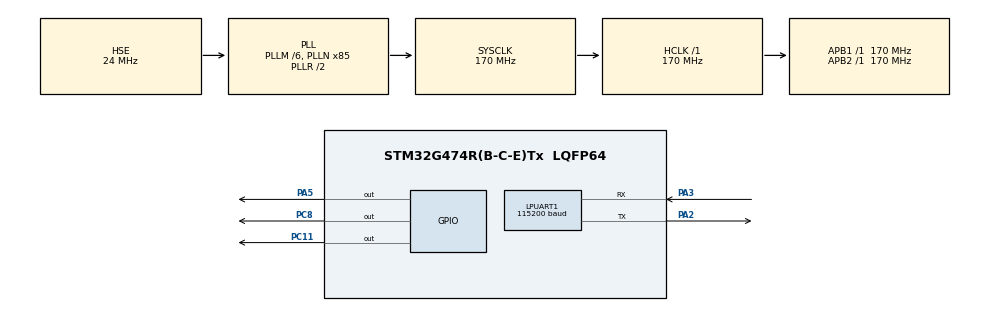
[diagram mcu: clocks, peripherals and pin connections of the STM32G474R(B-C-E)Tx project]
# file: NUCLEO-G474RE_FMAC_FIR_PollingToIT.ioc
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Mcu.Family=STM32G4
RCC.PLLSourceVirtual=RCC_PLLSOURCE_HSE
PC15-OSC32_OUT.Mode=LSE-External-Oscillator
RCC.CortexFreq_Value=170000000
VP_FMAC_VS_FMAC.Mode=FMAC_Activate
PC11.Signal=GPIO_Output
PC8.Signal=GPIO_Output
RCC.EXTERNAL_CLOCK_VALUE=12288000
PC14-OSC32_IN.Signal=RCC_OSC32_IN
RCC.SYSCLKSource=RCC_SYSCLKSOURCE_PLLCLK
ProjectManager.StackSize=0x400
PA3.Mode=Asynchronous
ProjectManager.TargetToolchain=STM32CubeIDE
RCC.HCLKFreq_Value=170000000
RCC.APB2TimFreq_Value=170000000
RCC.USBFreq_Value=170000000
PC15-OSC32_OUT.Signal=RCC_OSC32_OUT
RCC.AHBFreq_Value=170000000
PF0-OSC_IN.Mode=HSE-External-Oscillator
PA5.Signal=GPIO_Output
RCC.HSE_VALUE=24000000
board=NUCLEO-G474RE
RCC.VCOOutputFreq_Value=340000000
RCC.ADC12Freq_Value=170000000
RCC.ADC345Freq_Value=170000000
RCC.APB2Freq_Value=170000000
PC14-OSC32_IN.Mode=LSE-External-Oscillator
NVIC.FMAC_IRQn=true\:0\:0\:false\:false\:true\:true\:true
PC11.GPIO_Speed=GPIO_SPEED_FREQ_HIGH
VP_SYS_VS_DBSignals.Mode=DisableDeadBatterySignals
Mcu.Name=STM32G474R(B-C-E)Tx
LPUART1.BaudRate=115200
PA2.Signal=LPUART1_TX
RCC.SYSCLKFreq_VALUE=170000000
Mcu.Package=LQFP64
ProjectManager.HeapSize=0x200
PC8.GPIO_Speed=GPIO_SPEED_FREQ_HIGH
RCC.HSI_VALUE=16000000
NVIC.PriorityGroup=NVIC_PRIORITYGROUP_4
RCC.PLLM=RCC_PLLM_DIV6
RCC.PLLN=85
RCC.APB1TimFreq_Value=170000000
PA2.Mode=Asynchronous
PF0-OSC_IN.Signal=RCC_OSC_IN
PF1-OSC_OUT.Mode=HSE-External-Oscillator
RCC.APB1Freq_Value=170000000
PF1-OSC_OUT.Signal=RCC_OSC_OUT
RCC.HSI48_VALUE=48000000
PA3.Signal=LPUART1_RX

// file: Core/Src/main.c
/* USER CODE BEGIN Header */
/**
  ******************************************************************************
  * @file    FMAC/FMAC_FIR_PollingToIT/Src/main.c
  * @author  MCD Application Team
  * @brief   This sample code shows how to use FMAC HAL API (FMAC instance)
  *          to perform a FIR filter from polling mode to IT mode.
  ******************************************************************************
  * @attention
  *
  * <h2><center>&copy; Copyright (c) 2019 STMicroelectronics.
  * All rights reserved.</center></h2>
  *
  * This software component is licensed by ST under BSD 3-Clause license,
  * the "License"; You may not use this file except in compliance with the
  * License. You may obtain a copy of the License at:
  *                        opensource.org/licenses/BSD-3-Clause
  *
  ******************************************************************************
  */
/* USER CODE END Header */
#include "main.h"

/* USER CODE BEGIN Includes */
#include <stdio.h>
//#include "stm32g4xx_nucleo.h"
/* USER CODE END Includes */

FMAC_HandleTypeDef hfmac;

UART_HandleTypeDef hlpuart1;

/* USER CODE BEGIN PV */
/* FMAC configuration structure */
FMAC_FilterConfigTypeDef sFmacConfig;

/* Array of filter coefficients B (feed-forward taps) in Q1.15 format */
// Low Pass Filter
static int16_t aFilterCoeffB[COEFF_VECTOR_B_SIZE] =
{
		2212,  8848, 13272,  8848,  2212
};

// High Pass filter
//static int16_t aFilterCoeffB[COEFF_VECTOR_B_SIZE] =
//{
//		4612, -12078, 16028, -12078, 4612
//};

/* Array of input values in Q1.15 format (in four parts in order to write new data during the calculation) */
static int16_t aInputValues1[INPUT_ARRAY_1_SIZE] =
{
       0,  5276, -1548, 13844,     7, 17551,  5802, 16142, 14198, 12009,
   21624,  8678, 24576,  8672, 21611, 11990, 14172, 16111,  5765, 17510,
     -37, 13797, -1598,  5225,   -51, -5327,  1498,-13892,   -52,-17592,
   -5838,-16174,-14223,-12029,-21637, -8685,-24576, -8665,-21597,-11970,
  -14146,-16080, -5729,-17469,    82,-13749,  1647, -5174,   103,  5378,
   -1449, 13939,    96, 17632,  5874, 16205, 14249, 12048, 21650,  8691,
   24575,  8658, 21583, 11950, 14120, 16048,  5692, 17428,  -127, 13701,
   -1697,  5122,  -154, -5429,  1399,-13987,  -141,-17673, -5910,-16236,
  -14274,-12068,-21663, -8698,-24575, -8651,-21570,-11930,-14094,-16016,
   -5655,-17387,   171,-13654,  1747, -5071,   206,  5480, -1349, 14034,
};
static int16_t aInputValues2[INPUT_ARRAY_2_SIZE] =
{
     185, 17713,  5946, 16267, 14299, 12087, 21676,  8704, 24574,  8643,
   21556, 11909, 14067, 15984,  5618, 17346,  -216, 13606, -1797,  5020,
    -257, -5530,  1300,-14081,  -229,-17754, -5982,-16297,-14324,-12106,
  -21688, -8710,-24574, -8636,-21542,-11889,-14041,-15952, -5581,-17304,
     261,-13558,  1847, -4969,   309,  5581, -1250, 14128,   273, 17794,
    6018, 16328, 14349, 12124, 21701,  8715, 24573,  8628, 21527, 11868,
   14014, 15920,  5544, 17263,  -306, 13510, -1897,  4918,  -360, -5632,
    1201,-14176,  -317,-17834, -6053,-16358,-14374,-12143,-21713, -8721,
  -24571, -8620,-21513,-11847,-13988,-15888, -5507,-17221,   352,-13462,
    1947, -4867,   412,  5683, -1152, 14223,   361, 17874,  6089, 16389,
   14399, 12162, 21725,  8726, 24570,  8612, 21498, 11826, 13961, 15856,
    5470, 17180,  -397, 13414, -1997,  4816,  -463, -5734,  1102,-14270,
};
static int16_t aInputValues3[INPUT_ARRAY_3_SIZE] =
{
    -405,-17914, -6124,-16419,-14423,-12180,-21737, -8732,-24569, -8604,
  -21484,-11805,-13934,-15823, -5432,-17138,   442,-13366,  2047, -4764,
     515,  5785, -1053, 14317,   449, 17954,  6160, 16449, 14447, 12198,
   21749,  8737, 24567,  8596, 21469, 11784, 13907, 15790,  5395, 17096,
    -488, 13318, -2097,  4713,  -566, -5836,  1004,-14363,  -493,-17994,
   -6195,-16479,-14472,-12216,-21760, -8742,-24565, -8587,-21454,-11763,
  -13879,-15758, -5357,-17054,   533,-13269,  2147, -4662,   618,  5886,
    -955, 14410,   536, 18033,  6230, 16509, 14496, 12234, 21772,  8747,
   24563,  8579, 21438, 11741, 13852, 15725,  5319, 17012,  -579, 13221,
   -2198,  4611,  -669, -5937,   905,-14457,  -580,-18073, -6265,-16538,
  -14520,-12252,-21783, -8751,-24561, -8570,-21423,-11720,-13824,-15692,
};
static int16_t aInputValues4[INPUT_ARRAY_4_SIZE] =
{
   -5282,-16970,   624,-13173,  2248, -4559,   720,  5988,  -856, 14504,
     623, 18112,  6299, 16568, 14543, 12270, 21794,  8756, 24559,  8561,
   21408, 11698, 13797, 15659,  5244, 16928,  -670, 13124, -2298,  4508,
    -772, -6038,   807,-14550,  -667,-18152, -6334,-16597,-14567,-12287,
  -21805, -8760,-24557, -8552,-21392,-11676,-13769,-15625, -5205,-16886,
     716,-13076,  2348, -4457,   823,  6089,  -758, 14597,   710, 18191,
    6369, 16626, 14590, 12304, 21816,  8764, 24554,  8542, 21376, 11654,
   13741, 15592,  5167, 16843,  -761, 13027, -2399,  4405,  -875, -6140,
     709,-14643,  -753,-18230, -6403,-16656,-14614,-12321,-21827, -8768,
  -24551, -8533,-21360,-11632,-13713,-15559, -5129,-16801,   807,-12979,
    2449, -4354,   926,  6190,  -660, 14690,   796, 18269,  6437, 16685,
   14637, 12338, 21837,  8772, 24548,  8523, 21344, 11609, 13684, 15525,
    5090, 16758,  -853, 12930, -2500,  4303,  -977, -6241,   612,-14736,
    -839,-18308, -6472,-16713,-14660,-12355,-21847, -8776,-24545, -8514,
  -21328,-11587,-13656,-15491, -5052,-16715,   899,-12882,  2550, -4251,
    1029,  6291,  -563, 14782,   882, 18347,  6506, 16742, 14683, 12372,
   21858,  8779, 24542,  8504, 21311, 11564, 13628, 15457,  5013, 16673,
    -946, 12833, -2600,  4200, -1080, -6342,   514,-14828,  -925,-18386,
   -6540,-16771
};

static int16_t Sine1k_15k[] =
{
1861, 2597, 1744, 2099, 3102, 2379, 2300, 3419,
2936, 2435, 3499, 3329, 2482, 3329, 3499, 2435,
2936, 3419, 2300, 2379, 3102, 2099, 1744, 2597,
1861, 1126, 1979, 1624,  620, 1343, 1423,  304,
787, 1288,  224,  394, 1241,  394,  224, 1288,
787,  304, 1423, 1343,  620, 1624, 1979, 1126,
1861, 2597, 1744, 2099, 3102, 2379, 2300, 3419,
2936, 2435, 3499, 3329, 2482, 3329, 3499, 2435,
2936, 3419, 2300, 2379, 3102, 2099, 1744, 2597,
1861, 1126, 1979, 1624,  620, 1343, 1423,  304,
787, 1288,  224,  394, 1241,  394,  224, 1288,
787,  304, 1423, 1343,  620, 1624, 1979, 1126
};

/* Array of calculated filtered data in Q1.15 format (two parts) */
static int16_t aCalculatedFilteredData1[OUTPUT_ARRAY_1_SIZE];
static int16_t aCalculatedFilteredData2[OUTPUT_ARRAY_2_SIZE];

/* Size of the currently handled input buffer aInputValuesX */
uint16_t CurrentInputArraySize;

/* Expected number of calculated samples for the used aCalculatedFilteredDataX */
uint16_t ExpectedCalculatedFilteredDataSize;

/* Status of the calculation */
__IO uint32_t OutputDataReadyCallbackCount = 0;
__IO uint32_t ErrorCount                   = 0;

/* Array of reference filtered data for FIR "5 feed-forward taps, gain = 1" in Q1.15 format */
static const int16_t aRefFilteredData[ARRAY_SIZE] =
{
#if defined(CLIP_ENABLED)
  0x2370, 0x3498, 0x447e, 0x539a, 0x60ed, 0x6cdb, 0x76c6, 0x7ea8, 0x7fff, 0x7fff,
  0x7fff, 0x7fff, 0x7fff, 0x7e7e, 0x768f, 0x6c98, 0x609e, 0x5343, 0x441f, 0x3432,
  0x2306, 0x1185, 0xff92, 0xeda0, 0xdc24, 0xcb01, 0xbb21, 0xac0d, 0x9ec4, 0x92e1,
  0x8902, 0x812d, 0x8000, 0x8000, 0x8000, 0x8000, 0x8000, 0x81ac, 0x89a7, 0x93aa,
  0x9fae, 0xad14, 0xbc40, 0xcc33, 0xdd63, 0xeee7, 0x00dc, 0x12cc, 0x2444, 0x3563,
  0x453c, 0x5448, 0x6188, 0x6d61, 0x7734, 0x7efb, 0x7fff, 0x7fff, 0x7fff, 0x7fff,
  0x7fff, 0x7e28, 0x7620, 0x6c11, 0x6002, 0x5293, 0x435f, 0x3366, 0x2230, 0x10aa,
  0xfeb5, 0xecc5, 0xdb50, 0xca36, 0xba63, 0xab5f, 0x9e2a, 0x925c, 0x8895, 0x80da,
  0x8000, 0x8000, 0x8000, 0x8000, 0x8000, 0x8201, 0x8a17, 0x9432, 0xa04c, 0xadc4,
  0xbcff, 0xccff, 0xde39, 0xefc3, 0x01b9, 0x13a7, 0x251a, 0x362f, 0x45fb, 0x54f6,
  0x6222, 0x6de5, 0x77a0, 0x7f4e, 0x7fff, 0x7fff, 0x7fff, 0x7fff, 0x7fff, 0x7dd1,
  0x75af, 0x6b88, 0x5f64, 0x51e3, 0x42a0, 0x329a, 0x215b, 0x0fcf, 0xfdd9, 0xebec,
  0xda7c, 0xc96c, 0xb9a6, 0xaab2, 0x9d90, 0x91d9, 0x882a, 0x8089, 0x8000, 0x8000,
  0x8000, 0x8000, 0x8000, 0x8259, 0x8a88, 0x94bb, 0xa0eb, 0xae75, 0xbdc0, 0xcdcc,
  0xdf0f, 0xf09e, 0x0295, 0x1481, 0x25ed, 0x36f8, 0x46b7, 0x55a3, 0x62bc, 0x6e68,
  0x780b, 0x7f9e, 0x7fff, 0x7fff, 0x7fff, 0x7fff, 0x7fff, 0x7d79, 0x753d, 0x6aff,
  0x5ec5, 0x5132, 0x41df, 0x31cc, 0x2085, 0x0ef4, 0xfcfc, 0xeb11, 0xd9a8, 0xc8a1,
  0xb8e9, 0xaa06, 0x9cf8, 0x9156, 0x87bf, 0x8039, 0x8000, 0x8000, 0x8000, 0x8000,
  0x8000, 0x82b2, 0x8afa, 0x9545, 0xa189, 0xaf27, 0xbe82, 0xce9a, 0xdfe5, 0xf179,
  0x0371, 0x155b, 0x26c1, 0x37c2, 0x4774, 0x564f, 0x6354, 0x6eeb, 0x7875, 0x7fef,
  0x7fff, 0x7fff, 0x7fff, 0x7fff, 0x7fff, 0x7d20, 0x74cb, 0x6a75, 0x5e26, 0x5080,
  0x411d, 0x30fe, 0x1faf, 0x0e19, 0xfc20, 0xea37, 0xd8d4, 0xc7d8, 0xb82d, 0xa95b,
  0x9c60, 0x90d4, 0x8756, 0x8000, 0x8000, 0x8000, 0x8000, 0x8000, 0x8000, 0x830c,
  0x8b6e, 0x95d0, 0xa229, 0xafd9, 0xbf43, 0xcf67, 0xe0bc, 0xf254, 0x044e, 0x1635,
  0x2794, 0x388c, 0x4830, 0x56fa, 0x63ec, 0x6f6c, 0x78dd, 0x7fff, 0x7fff, 0x7fff,
  0x7fff, 0x7fff, 0x7fff, 0x7cc6, 0x7457, 0x69e9, 0x5d85, 0x4fcc, 0x405a, 0x3030,
  0x1ed8, 0x0d3d, 0xfb43, 0xe95e, 0xd802, 0xc70f, 0xb771, 0xa8b0, 0x9bc8, 0x9053,
  0x86ee, 0x8000, 0x8000, 0x8000, 0x8000, 0x8000, 0x8000, 0x8367, 0x8be3, 0x965c,
  0xa2ca, 0xb08d, 0xc006, 0xd036, 0xe193, 0xf32f, 0x052a, 0x170e, 0x2866, 0x3953,
  0x48ea, 0x57a4, 0x6482, 0x6fec, 0x7945, 0x7fff, 0x7fff, 0x7fff, 0x7fff, 0x7fff,
  0x7fff, 0x7c6a, 0x73e2, 0x695d, 0x5ce3, 0x4f18, 0x3f97, 0x2f61, 0x1e00, 0x0c62,
  0xfa67, 0xe884, 0xd72e, 0xc646, 0xb6b6, 0xa806, 0x9b33, 0x8fd4, 0x8687, 0x8000,
  0x8000, 0x8000, 0x8000, 0x8000, 0x8000, 0x83c3, 0x8c58, 0x96e9, 0xa36c, 0xb140,
  0xc0c9, 0xd105, 0xe26a, 0xf40b, 0x0606, 0x17e7, 0x293a, 0x3a1c, 0x49a5, 0x584c,
  0x6516, 0x706a, 0x79ab, 0x7fff, 0x7fff, 0x7fff, 0x7fff, 0x7fff, 0x7fff, 0x7c0e,
  0x736c, 0x68d0, 0x5c42, 0x4e64, 0x3ed4, 0x2e92, 0x1d29, 0x0b86, 0xf98b, 0xe7ab,
  0xd65d, 0xc57f, 0xb5fd, 0xa75d, 0x9a9e, 0x8f56, 0x8622, 0x8000, 0x8000, 0x8000,
  0x8000, 0x8000, 0x8000, 0x8421, 0x8ccf, 0x9777, 0xa410, 0xb1f6, 0xc18d, 0xd1d4,
  0xe341, 0xf4e6, 0x06e2, 0x18c0, 0x2a0c, 0x3ae4, 0x4a5f, 0x58f6, 0x65ab, 0x70e7,
  0x7a0f, 0x7fff, 0x7fff, 0x7fff, 0x7fff, 0x7fff, 0x7fff, 0x7baf, 0x72f4, 0x6840,
  0x5b9e, 0x4daf, 0x3e10, 0x2dc2, 0x1c51, 0x0aa9, 0xf8ae, 0xe6d2, 0xd58a, 0xc4b8,
  0xb544, 0xa6b6, 0x9a0a, 0x8ed8, 0x85bd, 0x8000, 0x8000, 0x8000, 0x8000, 0x8000,
  0x8000, 0x847f, 0x8d47, 0x9806, 0xa4b3, 0xb2ab, 0xc251, 0xd2a4, 0xe419, 0xf5c3,
  0x07bf, 0x1999, 0x2add, 0x3bab, 0x4b17, 0x599c, 0x663e, 0x7164, 0x7a73, 0x7fff,
  0x7fff, 0x7fff, 0x7fff, 0x7fff, 0x7fff, 0x7b4f, 0x727b, 0x67b0, 0x5af9, 0x4cf8,
  0x3d4b, 0x2cf2, 0x1b7a, 0x09cf, 0xf7d3, 0xe5fa, 0xd4ba, 0xc3f2, 0xb48c, 0xa60f,
  0x9978, 0x8e5d, 0x855b, 0x8000, 0x8000, 0x8000, 0x8000, 0x8000, 0x8000, 0x84e0,
  0x8dc1, 0x9897, 0xa558, 0xb362, 0xc316, 0xd374, 0xe4f1, 0xf69f, 0x089b, 0x1a71,
  0x2bae, 0x3c70, 0x4bcf, 0x5a43, 0x66d1, 0x71e0, 0x7ad6, 0x7fff, 0x7fff, 0x7fff,
  0x7fff, 0x7fff, 0x7fff, 0x7aee, 0x7201, 0x6720, 0x5a54, 0x4c41, 0x3c85, 0x2c22,
  0x1aa2, 0x08f3, 0xf6f6, 0xe522, 0xd3e9, 0xc32b, 0xb3d4, 0xa568
#else
  0x2370, 0x3498, 0x447e, 0x539a, 0x60ed, 0x6cdb, 0x76c6, 0x7ea8, 0x8483, 0x87d3,
  0x892a, 0x87c5, 0x8467, 0x7e7e, 0x768f, 0x6c98, 0x609e, 0x5343, 0x441f, 0x3432,
  0x2306, 0x1185, 0xff92, 0xeda0, 0xdc24, 0xcb01, 0xbb21, 0xac0d, 0x9ec4, 0x92e1,
  0x8902, 0x812d, 0x7b60, 0x781d, 0x76d5, 0x7848, 0x7bb5, 0x81ac, 0x89a7, 0x93aa,
  0x9fae, 0xad14, 0xbc40, 0xcc33, 0xdd63, 0xeee7, 0x00dc, 0x12cc, 0x2444, 0x3563,
  0x453c, 0x5448, 0x6188, 0x6d61, 0x7734, 0x7efb, 0x84bb, 0x87ef, 0x8929, 0x87a7,
  0x842c, 0x7e28, 0x7620, 0x6c11, 0x6002, 0x5293, 0x435f, 0x3366, 0x2230, 0x10aa,
  0xfeb5, 0xecc5, 0xdb50, 0xca36, 0xba63, 0xab5f, 0x9e2a, 0x925c, 0x8895, 0x80da,
  0x7b28, 0x7802, 0x76d6, 0x7867, 0x7bef, 0x8201, 0x8a17, 0x9432, 0xa04c, 0xadc4,
  0xbcff, 0xccff, 0xde39, 0xefc3, 0x01b9, 0x13a7, 0x251a, 0x362f, 0x45fb, 0x54f6,
  0x6222, 0x6de5, 0x77a0, 0x7f4e, 0x84f2, 0x880a, 0x8927, 0x8788, 0x83f1, 0x7dd1,
  0x75af, 0x6b88, 0x5f64, 0x51e3, 0x42a0, 0x329a, 0x215b, 0x0fcf, 0xfdd9, 0xebec,
  0xda7c, 0xc96c, 0xb9a6, 0xaab2, 0x9d90, 0x91d9, 0x882a, 0x8089, 0x7af2, 0x77e8,
  0x76d9, 0x7886, 0x7c2b, 0x8259, 0x8a88, 0x94bb, 0xa0eb, 0xae75, 0xbdc0, 0xcdcc,
  0xdf0f, 0xf09e, 0x0295, 0x1481, 0x25ed, 0x36f8, 0x46b7, 0x55a3, 0x62bc, 0x6e68,
  0x780b, 0x7f9e, 0x8527, 0x8823, 0x8923, 0x8767, 0x83b4, 0x7d79, 0x753d, 0x6aff,
  0x5ec5, 0x5132, 0x41df, 0x31cc, 0x2085, 0x0ef4, 0xfcfc, 0xeb11, 0xd9a8, 0xc8a1,
  0xb8e9, 0xaa06, 0x9cf8, 0x9156, 0x87bf, 0x8039, 0x7abd, 0x77d1, 0x76df, 0x78a9,
  0x7c6a, 0x82b2, 0x8afa, 0x9545, 0xa189, 0xaf27, 0xbe82, 0xce9a, 0xdfe5, 0xf179,
  0x0371, 0x155b, 0x26c1, 0x37c2, 0x4774, 0x564f, 0x6354, 0x6eeb, 0x7875, 0x7fef,
  0x855c, 0x883a, 0x891d, 0x8745, 0x8375, 0x7d20, 0x74cb, 0x6a75, 0x5e26, 0x5080,
  0x411d, 0x30fe, 0x1faf, 0x0e19, 0xfc20, 0xea37, 0xd8d4, 0xc7d8, 0xb82d, 0xa95b,
  0x9c60, 0x90d4, 0x8756, 0x7fea, 0x7a8a, 0x77b9, 0x76e4, 0x78cb, 0x7ca8, 0x830c,
  0x8b6e, 0x95d0, 0xa229, 0xafd9, 0xbf43, 0xcf67, 0xe0bc, 0xf254, 0x044e, 0x1635,
  0x2794, 0x388c, 0x4830, 0x56fa, 0x63ec, 0x6f6c, 0x78dd, 0x803c, 0x858e, 0x8851,
  0x8918, 0x8723, 0x8337, 0x7cc6, 0x7457, 0x69e9, 0x5d85, 0x4fcc, 0x405a, 0x3030,
  0x1ed8, 0x0d3d, 0xfb43, 0xe95e, 0xd802, 0xc70f, 0xb771, 0xa8b0, 0x9bc8, 0x9053,
  0x86ee, 0x7f9c, 0x7a58, 0x77a4, 0x76ec, 0x78ef, 0x7ce8, 0x8367, 0x8be3, 0x965c,
  0xa2ca, 0xb08d, 0xc006, 0xd036, 0xe193, 0xf32f, 0x052a, 0x170e, 0x2866, 0x3953,
  0x48ea, 0x57a4, 0x6482, 0x6fec, 0x7945, 0x808a, 0x85c0, 0x8866, 0x890f, 0x86fd,
  0x82f5, 0x7c6a, 0x73e2, 0x695d, 0x5ce3, 0x4f18, 0x3f97, 0x2f61, 0x1e00, 0x0c62,
  0xfa67, 0xe884, 0xd72e, 0xc646, 0xb6b6, 0xa806, 0x9b33, 0x8fd4, 0x8687, 0x7f4f,
  0x7a27, 0x7790, 0x76f4, 0x7914, 0x7d2a, 0x83c3, 0x8c58, 0x96e9, 0xa36c, 0xb140,
  0xc0c9, 0xd105, 0xe26a, 0xf40b, 0x0606, 0x17e7, 0x293a, 0x3a1c, 0x49a5, 0x584c,
  0x6516, 0x706a, 0x79ab, 0x80d5, 0x85f0, 0x8879, 0x8906, 0x86d8, 0x82b4, 0x7c0e,
  0x736c, 0x68d0, 0x5c42, 0x4e64, 0x3ed4, 0x2e92, 0x1d29, 0x0b86, 0xf98b, 0xe7ab,
  0xd65d, 0xc57f, 0xb5fd, 0xa75d, 0x9a9e, 0x8f56, 0x8622, 0x7f05, 0x79f8, 0x777d,
  0x76fe, 0x793b, 0x7d6c, 0x8421, 0x8ccf, 0x9777, 0xa410, 0xb1f6, 0xc18d, 0xd1d4,
  0xe341, 0xf4e6, 0x06e2, 0x18c0, 0x2a0c, 0x3ae4, 0x4a5f, 0x58f6, 0x65ab, 0x70e7,
  0x7a0f, 0x811f, 0x861e, 0x888b, 0x88fb, 0x86b0, 0x8270, 0x7baf, 0x72f4, 0x6840,
  0x5b9e, 0x4daf, 0x3e10, 0x2dc2, 0x1c51, 0x0aa9, 0xf8ae, 0xe6d2, 0xd58a, 0xc4b8,
  0xb544, 0xa6b6, 0x9a0a, 0x8ed8, 0x85bd, 0x7ebb, 0x79ca, 0x776b, 0x770a, 0x7963,
  0x7db1, 0x847f, 0x8d47, 0x9806, 0xa4b3, 0xb2ab, 0xc251, 0xd2a4, 0xe419, 0xf5c3,
  0x07bf, 0x1999, 0x2add, 0x3bab, 0x4b17, 0x599c, 0x663e, 0x7164, 0x7a73, 0x8168,
  0x864b, 0x889b, 0x88ef, 0x8687, 0x822b, 0x7b4f, 0x727b, 0x67b0, 0x5af9, 0x4cf8,
  0x3d4b, 0x2cf2, 0x1b7a, 0x09cf, 0xf7d3, 0xe5fa, 0xd4ba, 0xc3f2, 0xb48c, 0xa60f,
  0x9978, 0x8e5d, 0x855b, 0x7e73, 0x799d, 0x775b, 0x7716, 0x798c, 0x7df6, 0x84e0,
  0x8dc1, 0x9897, 0xa558, 0xb362, 0xc316, 0xd374, 0xe4f1, 0xf69f, 0x089b, 0x1a71,
  0x2bae, 0x3c70, 0x4bcf, 0x5a43, 0x66d1, 0x71e0, 0x7ad6, 0x81b1, 0x8678, 0x88ab,
  0x88e2, 0x865d, 0x81e5, 0x7aee, 0x7201, 0x6720, 0x5a54, 0x4c41, 0x3c85, 0x2c22,
  0x1aa2, 0x08f3, 0xf6f6, 0xe522, 0xd3e9, 0xc32b, 0xb3d4, 0xa568
#endif /* CLIP_ENABLED */
};

/* Auxiliary counter */
uint32_t Index;

/* USER CODE END PV */

void SystemClock_Config(void);
static void MX_GPIO_Init(void);
static void MX_FMAC_Init(void);
static void MX_LPUART1_UART_Init(void);
/* USER CODE BEGIN PFP */

#define PUTCHAR_PROTOTYPE int __io_putchar(int ch)

/* USER CODE END PFP */

int main(void)
{
  /* USER CODE BEGIN 1 */
  /* STM32G4xx HAL library initialization:
       - Configure the Flash prefetch
       - Systick timer is configured by default as source of time base, but user
         can eventually implement his proper time base source (a general purpose
         timer for example or other time source), keeping in mind that Time base
         duration should be kept 1ms since PPP_TIMEOUT_VALUEs are defined and
         handled in milliseconds basis.
       - Set NVIC Group Priority to 4
       - Low Level Initialization
     */
  /* USER CODE END 1 */

  /* MCU Configuration--------------------------------------------------------*/

  /* Reset of all peripherals, Initializes the Flash interface and the Systick. */
  HAL_Init();

  /* Configure the system clock */
  SystemClock_Config();

  /* USER CODE BEGIN SysInit */
  /* Configure LED2 */

  /* USER CODE END SysInit */

  /* Initialize all configured peripherals */
  MX_GPIO_Init();
  MX_FMAC_Init();
  MX_LPUART1_UART_Init();
  /* USER CODE BEGIN 2 */

  /*## Configure the FMAC peripheral #########################################*/
  sFmacConfig.InputBaseAddress  = INPUT_BUFFER_BASE;
  sFmacConfig.InputBufferSize   = INPUT_BUFFER_SIZE;
  sFmacConfig.InputThreshold    = INPUT_THRESHOLD;
  sFmacConfig.CoeffBaseAddress  = COEFFICIENT_BUFFER_BASE;
  sFmacConfig.CoeffBufferSize   = COEFFICIENT_BUFFER_SIZE;
  sFmacConfig.OutputBaseAddress = OUTPUT_BUFFER_BASE;
  sFmacConfig.OutputBufferSize  = OUTPUT_BUFFER_SIZE;
  sFmacConfig.OutputThreshold   = OUTPUT_THRESHOLD;
  sFmacConfig.pCoeffA           = NULL;
  sFmacConfig.CoeffASize        = 0;
  sFmacConfig.pCoeffB           = aFilterCoeffB;
  sFmacConfig.CoeffBSize        = COEFF_VECTOR_B_SIZE;
  sFmacConfig.Filter            = FMAC_FUNC_CONVO_FIR;
  sFmacConfig.InputAccess       = FMAC_BUFFER_ACCESS_POLLING;
  sFmacConfig.OutputAccess      = FMAC_BUFFER_ACCESS_IT;
#if defined(CLIP_ENABLED)
  sFmacConfig.Clip              = FMAC_CLIP_ENABLED;
#else
  sFmacConfig.Clip              = FMAC_CLIP_DISABLED;
#endif
  sFmacConfig.P                 = COEFF_VECTOR_B_SIZE;
  sFmacConfig.Q                 = FILTER_PARAM_Q_NOT_USED;
  sFmacConfig.R                 = GAIN;

//  for (Index = 0; Index < INPUT_ARRAY_1_SIZE; Index++)
//  {
//	  aInputValues1[Index] = (aInputValues1[Index] >> 1) + 16383;
//  }
//  printf("New aInputValues1\n");
//  for (Index = 0; Index < INPUT_ARRAY_1_SIZE; Index++)
//  {
//	  printf("%d %d\n",Index, aInputValues1[Index]);
//  }

//  for (Index = 0; Index < INPUT_ARRAY_2_SIZE; Index++)
//  {
//	  aInputValues2[Index] = (aInputValues2[Index] >> 1) + 16383;
//  }
//  printf("New aInputValues2\n");
//  for (Index = 0; Index < INPUT_ARRAY_2_SIZE; Index++)
//  {
//	  printf("%d %d\n",Index, aInputValues2[Index]);
//  }

  printf("Sine1k_15k\n");
  for (Index = 0; Index < Sine1k_15k_SIZE; Index++)
  {
	  printf("%d %d\n",Index, Sine1k_15k[Index]);
  }

  printf("aFilterCoeffB\n");
  for (Index = 0; Index < COEFF_VECTOR_B_SIZE; Index++)
  {
	  printf("%d %d\n",Index, aFilterCoeffB[Index]);
  }

//  GPIOC->BSRR = (1<<8); // start

  if (HAL_FMAC_FilterConfig(&hfmac, &sFmacConfig) != HAL_OK)
  {
    /* Configuration Error */
    Error_Handler();
  }
//  GPIOC->BSRR = (1<<(8+16)); // end + 16

  /*## Preload the input and output buffers ##################################*/
  if (HAL_FMAC_FilterPreload(&hfmac, Sine1k_15k, Sine1k_15k_SIZE, NULL, 0) != HAL_OK)
  {
    /* Configuration Error */
    Error_Handler();
  }
//  GPIOC->BSRR = (1<<(8+16)); // end + 16
//  printf("HAL_FMAC_FilterPreload : aInputValues1\n");
//  for (uint16_t Index=0; Index<INPUT_ARRAY_1_SIZE; Index++)
//  {
//    printf("%d %d\n",Index, aInputValues1[Index]);
//  }

//  /*## Start calculation of FIR filter in polling/IT mode ####################*/
  ExpectedCalculatedFilteredDataSize = OUTPUT_ARRAY_1_SIZE;
  if (HAL_FMAC_FilterStart(&hfmac, aCalculatedFilteredData1, &ExpectedCalculatedFilteredDataSize) != HAL_OK)
  {
    /* Processing Error */
    Error_Handler();
  }

//  GPIOC->BSRR = (1<<(8+16)); // end + 16

  /*## Append the 2nd part of the input data #################################*/
  CurrentInputArraySize = Sine1k_15k_SIZE;
  if (HAL_FMAC_AppendFilterData(&hfmac,
                                Sine1k_15k,
                                &CurrentInputArraySize) != HAL_OK)
  {
    Error_Handler();
  }

//  printf("HAL_FMAC_AppendFilterData : aInputValues2\n");
//  for (uint16_t Index=0; Index<INPUT_ARRAY_2_SIZE; Index++)
//  {
//    printf("%d %d\n",Index, aInputValues2[Index]);
//  }

  /*## Poll to write the 2nd part of the input data ##########################*/
  if (HAL_FMAC_PollFilterData(&hfmac, POLLING_TIMEOUT) != HAL_OK)
  {
    Error_Handler();
  }

//  /*## Append the 3rd part of the input data #################################*/
//  CurrentInputArraySize = INPUT_ARRAY_3_SIZE;
//  if (HAL_FMAC_AppendFilterData(&hfmac,
//                                aInputValues3,
//                                &CurrentInputArraySize) != HAL_OK)
//  {
//    Error_Handler();
//  }
//
//  printf("HAL_FMAC_AppendFilterData : aInputValues3\n");
//  for (uint16_t Index=0; Index<INPUT_ARRAY_3_SIZE; Index++)
//  {
//    printf("%d %d\n",Index, aInputValues3[Index]);
//  }
//
//  /*## Poll to write the 3rd part of the input data ##########################*/
//  if (HAL_FMAC_PollFilterData(&hfmac, POLLING_TIMEOUT) != HAL_OK)
//  {
//    Error_Handler();
//  }
//
//  /*## Append the 4th part of the input data #################################*/
//  CurrentInputArraySize = INPUT_ARRAY_4_SIZE;
//  if (HAL_FMAC_AppendFilterData(&hfmac,
//                                aInputValues4,
//                                &CurrentInputArraySize) != HAL_OK)
//  {
//    Error_Handler();
//  }
//
//  printf("HAL_FMAC_AppendFilterData : aInputValues4\n");
//  for (uint16_t Index=0; Index<INPUT_ARRAY_4_SIZE; Index++)
//  {
//    printf("%d %d\n",Index, aInputValues4[Index]);
//  }
//
//  /*## Poll to write the 4th part of the input data ##########################*/
//  if (HAL_FMAC_PollFilterData(&hfmac, POLLING_TIMEOUT) != HAL_OK)
//  {
//    Error_Handler();
//  }

//  /*## Wait for the end of the handling (no new data written) ################*/
//  /*  For simplicity reasons, this example is just waiting till the end of the
//      calculation, but the application may perform other tasks while the operation
//      is ongoing. */
//  while(OutputDataReadyCallbackCount < DATA_RDY_CALLBACK_COUNT)
//  {
//    if(ErrorCount != 0)
//    {
//      /* Processing Error */
//      Error_Handler();
//    }
//  }

  /*## Stop the calculation of FIR filter in polling/DMA mode ################*/
  if (HAL_FMAC_FilterStop(&hfmac) != HAL_OK)
  {
    /* Processing Error */
    Error_Handler();
  }

//  GPIOC->BSRR = (1<<(8+16)); // end + 16

  /*## Check the final error status ##########################################*/
  if(ErrorCount != 0)
  {
    /* Processing Error */
    Error_Handler();
  }

  /*## Compare FMAC results to the reference values ##########################*/
  printf("aCalculatedFilteredData1\n");
  for (Index = 0; Index < OUTPUT_ARRAY_1_SIZE; Index++)
  {
	  printf("%d %d\n",Index, aCalculatedFilteredData1[Index]);
//    if (aCalculatedFilteredData1[Index]  != aRefFilteredData[Index])
//    {
//      /* Processing Error */
//      Error_Handler();
//    }
  }
  printf("aCalculatedFilteredData2\n");
  for (Index = 0; Index < OUTPUT_ARRAY_2_SIZE; Index++)
  {
	  printf("%d %d\n",Index, aCalculatedFilteredData2[Index]);
//    if (aCalculatedFilteredData2[Index]  != aRefFilteredData[OUTPUT_ARRAY_1_SIZE + Index])
//    {
//      /* Processing Error */
//      Error_Handler();
//    }
  }

  /* USER CODE END 2 */

  /* Infinite loop */
  /* USER CODE BEGIN WHILE */
  while (1)
  {
	  /* There is no error in the output values: Turn LED2 on */
	  HAL_GPIO_TogglePin(GPIOA, GPIO_PIN_5);
	  HAL_Delay(100);
    /* USER CODE END WHILE */

  }
}

void SystemClock_Config(void)
{
  RCC_OscInitTypeDef RCC_OscInitStruct = {0};
  RCC_ClkInitTypeDef RCC_ClkInitStruct = {0};
  RCC_PeriphCLKInitTypeDef PeriphClkInit = {0};

  /** Configure the main internal regulator output voltage
  */
  HAL_PWREx_ControlVoltageScaling(PWR_REGULATOR_VOLTAGE_SCALE1_BOOST);
  /** Initializes the RCC Oscillators according to the specified parameters
  * in the RCC_OscInitTypeDef structure.
  */
  RCC_OscInitStruct.OscillatorType = RCC_OSCILLATORTYPE_HSE;
  RCC_OscInitStruct.HSEState = RCC_HSE_ON;
  RCC_OscInitStruct.PLL.PLLState = RCC_PLL_ON;
  RCC_OscInitStruct.PLL.PLLSource = RCC_PLLSOURCE_HSE;
  RCC_OscInitStruct.PLL.PLLM = RCC_PLLM_DIV6;
  RCC_OscInitStruct.PLL.PLLN = 85;
  RCC_OscInitStruct.PLL.PLLP = RCC_PLLP_DIV2;
  RCC_OscInitStruct.PLL.PLLQ = RCC_PLLQ_DIV2;
  RCC_OscInitStruct.PLL.PLLR = RCC_PLLR_DIV2;
  if (HAL_RCC_OscConfig(&RCC_OscInitStruct) != HAL_OK)
  {
    Error_Handler();
  }
  /** Initializes the CPU, AHB and APB buses clocks
  */
  RCC_ClkInitStruct.ClockType = RCC_CLOCKTYPE_HCLK|RCC_CLOCKTYPE_SYSCLK
                              |RCC_CLOCKTYPE_PCLK1|RCC_CLOCKTYPE_PCLK2;
  RCC_ClkInitStruct.SYSCLKSource = RCC_SYSCLKSOURCE_PLLCLK;
  RCC_ClkInitStruct.AHBCLKDivider = RCC_SYSCLK_DIV1;
  RCC_ClkInitStruct.APB1CLKDivider = RCC_HCLK_DIV1;
  RCC_ClkInitStruct.APB2CLKDivider = RCC_HCLK_DIV1;

  if (HAL_RCC_ClockConfig(&RCC_ClkInitStruct, FLASH_LATENCY_4) != HAL_OK)
  {
    Error_Handler();
  }
  /** Initializes the peripherals clocks
  */
  PeriphClkInit.PeriphClockSelection = RCC_PERIPHCLK_LPUART1;
  PeriphClkInit.Lpuart1ClockSelection = RCC_LPUART1CLKSOURCE_PCLK1;
  if (HAL_RCCEx_PeriphCLKConfig(&PeriphClkInit) != HAL_OK)
  {
    Error_Handler();
  }
}

static void MX_FMAC_Init(void)
{

  hfmac.Instance = FMAC;
  if (HAL_FMAC_Init(&hfmac) != HAL_OK)
  {
    Error_Handler();
  }

}

static void MX_LPUART1_UART_Init(void)
{

  hlpuart1.Instance = LPUART1;
  hlpuart1.Init.BaudRate = 115200;
  hlpuart1.Init.WordLength = UART_WORDLENGTH_8B;
  hlpuart1.Init.StopBits = UART_STOPBITS_1;
  hlpuart1.Init.Parity = UART_PARITY_NONE;
  hlpuart1.Init.Mode = UART_MODE_TX_RX;
  hlpuart1.Init.HwFlowCtl = UART_HWCONTROL_NONE;
  hlpuart1.Init.OneBitSampling = UART_ONE_BIT_SAMPLE_DISABLE;
  hlpuart1.Init.ClockPrescaler = UART_PRESCALER_DIV1;
  hlpuart1.AdvancedInit.AdvFeatureInit = UART_ADVFEATURE_NO_INIT;
  if (HAL_UART_Init(&hlpuart1) != HAL_OK)
  {
    Error_Handler();
  }
  if (HAL_UARTEx_SetTxFifoThreshold(&hlpuart1, UART_TXFIFO_THRESHOLD_1_8) != HAL_OK)
  {
    Error_Handler();
  }
  if (HAL_UARTEx_SetRxFifoThreshold(&hlpuart1, UART_RXFIFO_THRESHOLD_1_8) != HAL_OK)
  {
    Error_Handler();
  }
  if (HAL_UARTEx_DisableFifoMode(&hlpuart1) != HAL_OK)
  {
    Error_Handler();
  }

}

static void MX_GPIO_Init(void)
{
  GPIO_InitTypeDef GPIO_InitStruct = {0};

  /* GPIO Ports Clock Enable */
  __HAL_RCC_GPIOC_CLK_ENABLE();
  __HAL_RCC_GPIOF_CLK_ENABLE();
  __HAL_RCC_GPIOA_CLK_ENABLE();

  /*Configure GPIO pin Output Level */
  HAL_GPIO_WritePin(GPIOA, GPIO_PIN_5, GPIO_PIN_RESET);

  /*Configure GPIO pin Output Level */
  HAL_GPIO_WritePin(GPIOC, GPIO_PIN_8|GPIO_PIN_11, GPIO_PIN_RESET);

  /*Configure GPIO pin : PA5 */
  GPIO_InitStruct.Pin = GPIO_PIN_5;
  GPIO_InitStruct.Mode = GPIO_MODE_OUTPUT_PP;
  GPIO_InitStruct.Pull = GPIO_NOPULL;
  GPIO_InitStruct.Speed = GPIO_SPEED_FREQ_LOW;
  HAL_GPIO_Init(GPIOA, &GPIO_InitStruct);

  /*Configure GPIO pins : PC8 PC11 */
  GPIO_InitStruct.Pin = GPIO_PIN_8|GPIO_PIN_11;
  GPIO_InitStruct.Mode = GPIO_MODE_OUTPUT_PP;
  GPIO_InitStruct.Pull = GPIO_NOPULL;
  GPIO_InitStruct.Speed = GPIO_SPEED_FREQ_HIGH;
  HAL_GPIO_Init(GPIOC, &GPIO_InitStruct);

}

/* USER CODE BEGIN 4 */

PUTCHAR_PROTOTYPE
{
  /* Place your implementation of fputc here */
  /* e.g. write a character to the LPUART1 and Loop until the end of transmission */
  HAL_UART_Transmit(&hlpuart1, (uint8_t *)&ch, 1, 0xFFFF);

  return ch;
}

/**
  * @brief FMAC output data ready callback
  * @par hfmac: FMAC HAL handle
  * @retval None
  */
void HAL_FMAC_OutputDataReadyCallback(FMAC_HandleTypeDef *hfmac)
{
  OutputDataReadyCallbackCount++;

//  if (OutputDataReadyCallbackCount == 1)
//  {
//    ExpectedCalculatedFilteredDataSize = OUTPUT_ARRAY_2_SIZE;
//    if (HAL_FMAC_ConfigFilterOutputBuffer(hfmac,
//                                          aCalculatedFilteredData2,
//                                          &ExpectedCalculatedFilteredDataSize) != HAL_OK)
//    {
//      ErrorCount++;
//    }
//  }
//  else
//  {
//    /* No more data will be read, disable the FMAC read interrupt */
//    __HAL_FMAC_DISABLE_IT(hfmac, FMAC_IT_RIEN);
//  }
}

/**
  * @brief FMAC error callback
  * @par hfmac: FMAC HAL handle
  * @retval None
  */
void HAL_FMAC_ErrorCallback(FMAC_HandleTypeDef *hfmac)
{
  ErrorCount++;
}
/* USER CODE END 4 */

void Error_Handler(void)
{
  /* USER CODE BEGIN Error_Handler_Debug */
  /* User can add his own implementation to report the HAL error return state */
  while(1)
  {
    /* LED2 is blinking */
    HAL_GPIO_TogglePin(GPIOA, GPIO_PIN_5);
    HAL_Delay(1000);
  }
  /* USER CODE END Error_Handler_Debug */
}

/************************ (C) COPYRIGHT STMicroelectronics *****END OF FILE****/
